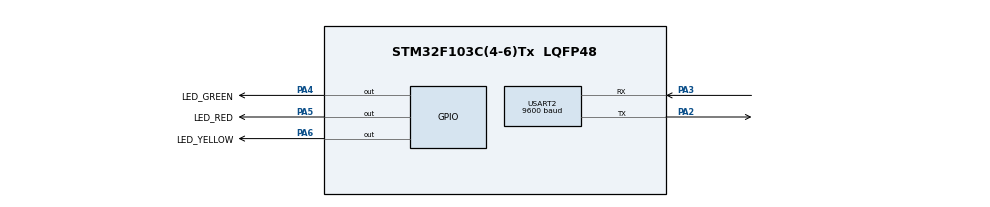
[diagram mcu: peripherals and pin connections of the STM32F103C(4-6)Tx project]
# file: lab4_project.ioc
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Mcu.Family=STM32F1
Mcu.Name=STM32F103C(4-6)Tx
Mcu.Package=LQFP48
NVIC.PriorityGroup=NVIC_PRIORITYGROUP_4
NVIC.TIM2_IRQn=true\:0\:0\:false\:false\:true\:true\:true
NVIC.USART2_IRQn=true\:0\:0\:false\:false\:true\:true\:true
PA13.Mode=Serial_Wire
PA13.Signal=SYS_JTMS-SWDIO
PA14.Mode=Serial_Wire
PA14.Signal=SYS_JTCK-SWCLK
PA2.Mode=Asynchronous
PA2.Signal=USART2_TX
PA3.Mode=Asynchronous
PA3.Signal=USART2_RX
PA4.GPIO_Label=LED_GREEN
PA4.Signal=GPIO_Output
PA5.GPIO_Label=LED_RED
PA5.Signal=GPIO_Output
PA6.GPIO_Label=LED_YELLOW
PA6.Signal=GPIO_Output
ProjectManager.HeapSize=0x200
ProjectManager.StackSize=0x400
ProjectManager.TargetToolchain=STM32CubeIDE
RCC.APB1Freq_Value=8000000
RCC.APB2Freq_Value=8000000
TIM2.Period=9
TIM2.Prescaler=7999
USART2.BaudRate=9600
USART2.VirtualMode=VM_ASYNC
VP_TIM2_VS_ClockSourceINT.Mode=Internal
board=custom

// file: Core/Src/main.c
/* USER CODE BEGIN Header */
/**
  ******************************************************************************
  * @file           : main.c
  * @brief          : Main program body
  ******************************************************************************
  * @attention
  *
  * <h2><center>&copy; Copyright (c) 2024 STMicroelectronics.
  * All rights reserved.</center></h2>
  *
  * This software component is licensed by ST under BSD 3-Clause license,
  * the "License"; You may not use this file except in compliance with the
  * License. You may obtain a copy of the License at:
  *                        opensource.org/licenses/BSD-3-Clause
  *
  ******************************************************************************
  */
/* USER CODE END Header */
#include "main.h"

/* USER CODE BEGIN Includes */
#include <stdio.h>
#include <string.h>
#include "scheduler.h"
/* USER CODE END Includes */

TIM_HandleTypeDef htim2;

UART_HandleTypeDef huart2;

void SystemClock_Config(void);
static void MX_GPIO_Init(void);
static void MX_TIM2_Init(void);
static void MX_USART2_UART_Init(void);

/* USER CODE BEGIN 0 */
int counter = 0;
uint8_t time_drop;
void send_time(){
	char time_string[20];
	sprintf(time_string,"%u\r",counter);
	size_t len = strlen(time_string);
	HAL_UART_Transmit(&huart2, (uint8_t*) time_string,len, HAL_MAX_DELAY);
}
void send_data(uint8_t temp){
	char time_string[20];
	sprintf(time_string,"Data is %u\r",temp);
	size_t len = strlen(time_string);
	HAL_UART_Transmit(&huart2, (uint8_t*) time_string,len, HAL_MAX_DELAY);
}
void LEDREDBINKY(){
	HAL_GPIO_TogglePin(GPIOA, LED_RED_Pin);
	send_time();
}
void LEDGREENBINKY(){
	HAL_GPIO_TogglePin(GPIOA, LED_GREEN_Pin);
	send_time();
}
/* USER CODE END 0 */

int main(void)
{

  /* MCU Configuration--------------------------------------------------------*/

  /* Reset of all peripherals, Initializes the Flash interface and the Systick. */
  HAL_Init();

  /* Configure the system clock */
  SystemClock_Config();

  /* Initialize all configured peripherals */
  MX_GPIO_Init();
  MX_TIM2_Init();
  MX_USART2_UART_Init();
   SCH_INIT();
  	HAL_TIM_Base_Start_IT(&htim2);
    SCH_Add_Task(LEDREDBINKY, 100, 1000);
    SCH_Add_Task(LEDGREENBINKY, 100, 1000);
    /* USER CODE END 2 */

    /* Infinite loop */
    /* USER CODE BEGIN WHILE */

  while (1)
  {
	  SCH_Dispatch_Task();
    /* USER CODE END WHILE */

  }
}

void SystemClock_Config(void)
{
  RCC_OscInitTypeDef RCC_OscInitStruct = {0};
  RCC_ClkInitTypeDef RCC_ClkInitStruct = {0};

  /** Initializes the RCC Oscillators according to the specified parameters
  * in the RCC_OscInitTypeDef structure.
  */
  RCC_OscInitStruct.OscillatorType = RCC_OSCILLATORTYPE_HSI;
  RCC_OscInitStruct.HSIState = RCC_HSI_ON;
  RCC_OscInitStruct.HSICalibrationValue = RCC_HSICALIBRATION_DEFAULT;
  RCC_OscInitStruct.PLL.PLLState = RCC_PLL_NONE;
  if (HAL_RCC_OscConfig(&RCC_OscInitStruct) != HAL_OK)
  {
    Error_Handler();
  }
  /** Initializes the CPU, AHB and APB buses clocks
  */
  RCC_ClkInitStruct.ClockType = RCC_CLOCKTYPE_HCLK|RCC_CLOCKTYPE_SYSCLK
                              |RCC_CLOCKTYPE_PCLK1|RCC_CLOCKTYPE_PCLK2;
  RCC_ClkInitStruct.SYSCLKSource = RCC_SYSCLKSOURCE_HSI;
  RCC_ClkInitStruct.AHBCLKDivider = RCC_SYSCLK_DIV1;
  RCC_ClkInitStruct.APB1CLKDivider = RCC_HCLK_DIV1;
  RCC_ClkInitStruct.APB2CLKDivider = RCC_HCLK_DIV1;

  if (HAL_RCC_ClockConfig(&RCC_ClkInitStruct, FLASH_LATENCY_0) != HAL_OK)
  {
    Error_Handler();
  }
}

static void MX_TIM2_Init(void)
{

  TIM_ClockConfigTypeDef sClockSourceConfig = {0};
  TIM_MasterConfigTypeDef sMasterConfig = {0};

  htim2.Instance = TIM2;
  htim2.Init.Prescaler = 7999;
  htim2.Init.CounterMode = TIM_COUNTERMODE_UP;
  htim2.Init.Period = 9;
  htim2.Init.ClockDivision = TIM_CLOCKDIVISION_DIV1;
  htim2.Init.AutoReloadPreload = TIM_AUTORELOAD_PRELOAD_DISABLE;
  if (HAL_TIM_Base_Init(&htim2) != HAL_OK)
  {
    Error_Handler();
  }
  sClockSourceConfig.ClockSource = TIM_CLOCKSOURCE_INTERNAL;
  if (HAL_TIM_ConfigClockSource(&htim2, &sClockSourceConfig) != HAL_OK)
  {
    Error_Handler();
  }
  sMasterConfig.MasterOutputTrigger = TIM_TRGO_RESET;
  sMasterConfig.MasterSlaveMode = TIM_MASTERSLAVEMODE_DISABLE;
  if (HAL_TIMEx_MasterConfigSynchronization(&htim2, &sMasterConfig) != HAL_OK)
  {
    Error_Handler();
  }

}

static void MX_USART2_UART_Init(void)
{

  huart2.Instance = USART2;
  huart2.Init.BaudRate = 9600;
  huart2.Init.WordLength = UART_WORDLENGTH_8B;
  huart2.Init.StopBits = UART_STOPBITS_1;
  huart2.Init.Parity = UART_PARITY_NONE;
  huart2.Init.Mode = UART_MODE_TX_RX;
  huart2.Init.HwFlowCtl = UART_HWCONTROL_NONE;
  huart2.Init.OverSampling = UART_OVERSAMPLING_16;
  if (HAL_UART_Init(&huart2) != HAL_OK)
  {
    Error_Handler();
  }

}

static void MX_GPIO_Init(void)
{
  GPIO_InitTypeDef GPIO_InitStruct = {0};

  /* GPIO Ports Clock Enable */
  __HAL_RCC_GPIOA_CLK_ENABLE();

  /*Configure GPIO pin Output Level */
  HAL_GPIO_WritePin(GPIOA, LED_GREEN_Pin|LED_RED_Pin|LED_YELLOW_Pin, GPIO_PIN_RESET);

  /*Configure GPIO pins : LED_GREEN_Pin LED_RED_Pin LED_YELLOW_Pin */
  GPIO_InitStruct.Pin = LED_GREEN_Pin|LED_RED_Pin|LED_YELLOW_Pin;
  GPIO_InitStruct.Mode = GPIO_MODE_OUTPUT_PP;
  GPIO_InitStruct.Pull = GPIO_NOPULL;
  GPIO_InitStruct.Speed = GPIO_SPEED_FREQ_LOW;
  HAL_GPIO_Init(GPIOA, &GPIO_InitStruct);

}

/* USER CODE BEGIN 4 */
void HAL_TIM_PeriodElapsedCallback(TIM_HandleTypeDef *htim){
	counter += 10;

	SCH_Update();
}
/* USER CODE END 4 */

void Error_Handler(void)
{
  __disable_irq();
  while (1)
  {
  }
}

/************************ (C) COPYRIGHT STMicroelectronics *****END OF FILE****/
